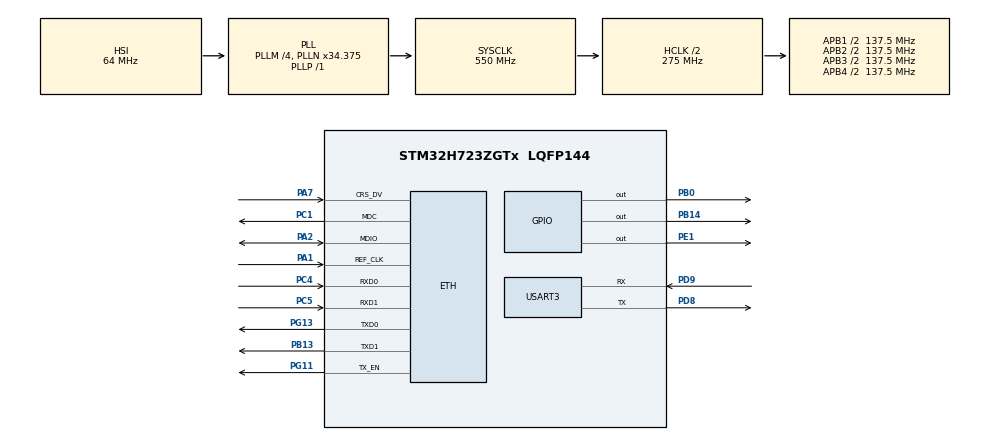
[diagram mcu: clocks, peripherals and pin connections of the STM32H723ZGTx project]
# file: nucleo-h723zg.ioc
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CORTEX_M7.default_mode_Activation=1
ETH.MediaInterface=HAL_ETH_RMII_MODE
Mcu.Family=STM32H7
Mcu.Name=STM32H723ZGTx
Mcu.Package=LQFP144
NVIC.PriorityGroup=NVIC_PRIORITYGROUP_4
PA1.Mode=RMII
PA1.Signal=ETH_REF_CLK
PA2.Mode=RMII
PA2.Signal=ETH_MDIO
PA7.Mode=RMII
PA7.Signal=ETH_CRS_DV
PB0.Signal=GPIO_Output
PB13.Mode=RMII
PB13.Signal=ETH_TXD1
PB14.Signal=GPIO_Output
PC1.Mode=RMII
PC1.Signal=ETH_MDC
PC4.Mode=RMII
PC4.Signal=ETH_RXD0
PC5.Mode=RMII
PC5.Signal=ETH_RXD1
PD8.Mode=Asynchronous
PD8.Signal=USART3_TX
PD9.Mode=Asynchronous
PD9.Signal=USART3_RX
PE1.Signal=GPIO_Output
PG11.Mode=RMII
PG11.Signal=ETH_TX_EN
PG13.Mode=RMII
PG13.Signal=ETH_TXD0
ProjectManager.HeapSize=0x10000
ProjectManager.StackSize=0x2000
ProjectManager.TargetToolchain=CMake
RCC.ADCFreq_Value=129000000
RCC.APB1Freq_Value=137500000
RCC.APB2Freq_Value=137500000
RCC.APB3Freq_Value=137500000
RCC.APB4Freq_Value=137500000
RCC.CortexFreq_Value=550000000
RCC.D1PPRE=RCC_APB3_DIV2
RCC.D2PPRE1=RCC_APB1_DIV2
RCC.D2PPRE2=RCC_APB2_DIV2
RCC.D3PPRE=RCC_APB4_DIV2
RCC.DIVM1=4
RCC.DIVN1=34
RCC.DIVP1=1
RCC.HCLKFreq_Value=275000000
RCC.HPRE=RCC_HCLK_DIV2
RCC.PLL2FRACN=0
RCC.PLL3FRACN=0
RCC.PLLFRACN=3072
RCC.SYSCLKFreq_VALUE=550000000
RCC.SYSCLKSource=RCC_SYSCLKSOURCE_PLLCLK
RCC.USBFreq_Value=275000000
USART3.VirtualMode-Asynchronous=VM_ASYNC
VP_MEMORYMAP_VS_MEMORYMAP.Mode=CurAppReg
VP_RNG_VS_RNG.Mode=RNG_Activate
board=custom

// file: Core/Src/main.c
/* USER CODE BEGIN Header */
/**
  ******************************************************************************
  * @file           : main.c
  * @brief          : Main program body
  ******************************************************************************
  * @attention
  *
  * Copyright (c) 2026 STMicroelectronics.
  * All rights reserved.
  *
  * This software is licensed under terms that can be found in the LICENSE file
  * in the root directory of this software component.
  * If no LICENSE file comes with this software, it is provided AS-IS.
  *
  ******************************************************************************
  */
/* USER CODE END Header */
#include "main.h"
#include "string.h"

/* USER CODE BEGIN Includes */
#include "mongoose.h"

/* USER CODE END Includes */

#if defined ( __ICCARM__ ) /*!< IAR Compiler */
#pragma location=0x30000000
ETH_DMADescTypeDef  DMARxDscrTab[ETH_RX_DESC_CNT]; /* Ethernet Rx DMA Descriptors */
#pragma location=0x30000080
ETH_DMADescTypeDef  DMATxDscrTab[ETH_TX_DESC_CNT]; /* Ethernet Tx DMA Descriptors */

#elif defined ( __CC_ARM )  /* MDK ARM Compiler */

__attribute__((at(0x30000000))) ETH_DMADescTypeDef  DMARxDscrTab[ETH_RX_DESC_CNT]; /* Ethernet Rx DMA Descriptors */
__attribute__((at(0x30000080))) ETH_DMADescTypeDef  DMATxDscrTab[ETH_TX_DESC_CNT]; /* Ethernet Tx DMA Descriptors */

#elif defined ( __GNUC__ ) /* GNU Compiler */

ETH_DMADescTypeDef DMARxDscrTab[ETH_RX_DESC_CNT] __attribute__((section(".RxDescripSection"))); /* Ethernet Rx DMA Descriptors */
ETH_DMADescTypeDef DMATxDscrTab[ETH_TX_DESC_CNT] __attribute__((section(".TxDescripSection")));   /* Ethernet Tx DMA Descriptors */
#endif

ETH_TxPacketConfig TxConfig;

ETH_HandleTypeDef heth;

RNG_HandleTypeDef hrng;

UART_HandleTypeDef huart3;

void SystemClock_Config(void);
static void MPU_Config(void);
static void MX_GPIO_Init(void);
static void MX_ETH_Init(void);
static void MX_RNG_Init(void);
static void MX_USART3_UART_Init(void);

/* USER CODE BEGIN 0 */
size_t mg_usage(int task, int metric) {
  extern void *_sbrk(ptrdiff_t incr);
  extern unsigned char _end, _sstack, _estack;
  extern uint32_t _Min_Stack_Size;
  switch (metric) {
    case MG_USAGE_NUM_TASKS: return 1;
    case MG_USAGE_TASK_NAME: return task == 0 ? (size_t) "main" : 0;
    case MG_USAGE_STACK_TOTAL:
      return task == 0 ? (size_t) &_Min_Stack_Size : 0;
    case MG_USAGE_STACK_USED: {
      size_t sp = (size_t) __get_MSP();
      size_t base = (size_t) &_sstack, top = (size_t) &_estack;
      if (task != 0 || sp > top) return 0;
      return top - (sp < base ? base : sp);
    }
    case MG_USAGE_HEAP_TOTAL:
      return (size_t) &_sstack - (size_t) &_end;
    case MG_USAGE_HEAP_USED: {
      size_t heap = (size_t) _sbrk(0), start = (size_t) &_end;
      return heap >= start && heap <= (size_t) &_sstack ? heap - start : 0;
    }
    default: return 0;
  }
}

static void log_fn(char ch, void *param) {
  HAL_UART_Transmit(param, (unsigned char *) &ch, 1, HAL_MAX_DELAY);
}

static void http_ev_handler(struct mg_connection *c, int ev, void *ev_data) {
  if (ev == MG_EV_HTTP_HDRS) {
    struct mg_http_message *hm = (struct mg_http_message *) ev_data;
    if (mg_match(hm->uri, mg_str("/ota"), NULL)) {
      mg_http_stream_body(c, hm, mg_http_ota_cb, NULL);
    }
  } else if (ev == MG_EV_HTTP_MSG) {
    struct mg_http_message *hm = (struct mg_http_message *) ev_data;
    if (mg_match(hm->uri, mg_str("/api/tick"), NULL)) {
      mg_http_reply(c, 200, "", "{%m:%lu}\n", MG_ESC("tick"), HAL_GetTick());
    } else if (mg_match(hm->uri, mg_str("/api/crash"), NULL)) {
      __asm volatile("udf #0");
    } else {
      mg_http_reply(c, 200, "", "Hi from Mongoose, tick %lu\n%M\n",
                    HAL_GetTick(), mg_print_mem_stats);
    }
  }
}
/* USER CODE END 0 */

int main(void)
{

  /* USER CODE BEGIN 1 */
  MG_HEALTH_INIT();
  /* USER CODE END 1 */

  /* MPU Configuration--------------------------------------------------------*/
  MPU_Config();

  /* MCU Configuration--------------------------------------------------------*/

  /* Reset of all peripherals, Initializes the Flash interface and the Systick. */
  HAL_Init();

  /* Configure the system clock */
  SystemClock_Config();

  /* Initialize all configured peripherals */
  MX_GPIO_Init();
  MX_ETH_Init();
  MX_RNG_Init();
  MX_USART3_UART_Init();

  /* Infinite loop */
  /* USER CODE BEGIN WHILE */
  struct mg_mgr mgr;
  mg_log_set_fn(log_fn, &huart3);
  mg_mgr_init(&mgr);
  mg_http_listen(&mgr, "http://0.0.0.0", http_ev_handler, NULL);

  while (1)
  {
    mg_mgr_poll(&mgr, 0);
    /* USER CODE END WHILE */

  }
}

void SystemClock_Config(void)
{
  RCC_OscInitTypeDef RCC_OscInitStruct = {0};
  RCC_ClkInitTypeDef RCC_ClkInitStruct = {0};

  /** Supply configuration update enable
  */
  HAL_PWREx_ConfigSupply(PWR_LDO_SUPPLY);

  /** Configure the main internal regulator output voltage
  */
  __HAL_PWR_VOLTAGESCALING_CONFIG(PWR_REGULATOR_VOLTAGE_SCALE0);

  while(!__HAL_PWR_GET_FLAG(PWR_FLAG_VOSRDY)) {}

  /** Initializes the RCC Oscillators according to the specified parameters
  * in the RCC_OscInitTypeDef structure.
  */
  RCC_OscInitStruct.OscillatorType = RCC_OSCILLATORTYPE_HSI48|RCC_OSCILLATORTYPE_HSI;
  RCC_OscInitStruct.HSIState = RCC_HSI_DIV1;
  RCC_OscInitStruct.HSICalibrationValue = 64;
  RCC_OscInitStruct.HSI48State = RCC_HSI48_ON;
  RCC_OscInitStruct.PLL.PLLState = RCC_PLL_ON;
  RCC_OscInitStruct.PLL.PLLSource = RCC_PLLSOURCE_HSI;
  RCC_OscInitStruct.PLL.PLLM = 4;
  RCC_OscInitStruct.PLL.PLLN = 34;
  RCC_OscInitStruct.PLL.PLLP = 1;
  RCC_OscInitStruct.PLL.PLLQ = 2;
  RCC_OscInitStruct.PLL.PLLR = 2;
  RCC_OscInitStruct.PLL.PLLRGE = RCC_PLL1VCIRANGE_3;
  RCC_OscInitStruct.PLL.PLLVCOSEL = RCC_PLL1VCOWIDE;
  RCC_OscInitStruct.PLL.PLLFRACN = 3072;
  if (HAL_RCC_OscConfig(&RCC_OscInitStruct) != HAL_OK)
  {
    Error_Handler();
  }

  /** Initializes the CPU, AHB and APB buses clocks
  */
  RCC_ClkInitStruct.ClockType = RCC_CLOCKTYPE_HCLK|RCC_CLOCKTYPE_SYSCLK
                              |RCC_CLOCKTYPE_PCLK1|RCC_CLOCKTYPE_PCLK2
                              |RCC_CLOCKTYPE_D3PCLK1|RCC_CLOCKTYPE_D1PCLK1;
  RCC_ClkInitStruct.SYSCLKSource = RCC_SYSCLKSOURCE_PLLCLK;
  RCC_ClkInitStruct.SYSCLKDivider = RCC_SYSCLK_DIV1;
  RCC_ClkInitStruct.AHBCLKDivider = RCC_HCLK_DIV2;
  RCC_ClkInitStruct.APB3CLKDivider = RCC_APB3_DIV2;
  RCC_ClkInitStruct.APB1CLKDivider = RCC_APB1_DIV2;
  RCC_ClkInitStruct.APB2CLKDivider = RCC_APB2_DIV2;
  RCC_ClkInitStruct.APB4CLKDivider = RCC_APB4_DIV2;

  if (HAL_RCC_ClockConfig(&RCC_ClkInitStruct, FLASH_LATENCY_3) != HAL_OK)
  {
    Error_Handler();
  }
}

static void MX_ETH_Init(void)
{

   static uint8_t MACAddr[6];

  heth.Instance = ETH;
  MACAddr[0] = 0x00;
  MACAddr[1] = 0x80;
  MACAddr[2] = 0xE1;
  MACAddr[3] = 0x00;
  MACAddr[4] = 0x00;
  MACAddr[5] = 0x00;
  heth.Init.MACAddr = &MACAddr[0];
  heth.Init.MediaInterface = HAL_ETH_RMII_MODE;
  heth.Init.TxDesc = DMATxDscrTab;
  heth.Init.RxDesc = DMARxDscrTab;
  heth.Init.RxBuffLen = 1536;

  if (HAL_ETH_Init(&heth) != HAL_OK)
  {
    Error_Handler();
  }

  memset(&TxConfig, 0 , sizeof(ETH_TxPacketConfig));
  TxConfig.Attributes = ETH_TX_PACKETS_FEATURES_CSUM | ETH_TX_PACKETS_FEATURES_CRCPAD;
  TxConfig.ChecksumCtrl = ETH_CHECKSUM_IPHDR_PAYLOAD_INSERT_PHDR_CALC;
  TxConfig.CRCPadCtrl = ETH_CRC_PAD_INSERT;

}

static void MX_RNG_Init(void)
{

  hrng.Instance = RNG;
  hrng.Init.ClockErrorDetection = RNG_CED_ENABLE;
  if (HAL_RNG_Init(&hrng) != HAL_OK)
  {
    Error_Handler();
  }

}

static void MX_USART3_UART_Init(void)
{

  huart3.Instance = USART3;
  huart3.Init.BaudRate = 115200;
  huart3.Init.WordLength = UART_WORDLENGTH_8B;
  huart3.Init.StopBits = UART_STOPBITS_1;
  huart3.Init.Parity = UART_PARITY_NONE;
  huart3.Init.Mode = UART_MODE_TX_RX;
  huart3.Init.HwFlowCtl = UART_HWCONTROL_NONE;
  huart3.Init.OverSampling = UART_OVERSAMPLING_16;
  huart3.Init.OneBitSampling = UART_ONE_BIT_SAMPLE_DISABLE;
  huart3.Init.ClockPrescaler = UART_PRESCALER_DIV1;
  huart3.AdvancedInit.AdvFeatureInit = UART_ADVFEATURE_NO_INIT;
  if (HAL_UART_Init(&huart3) != HAL_OK)
  {
    Error_Handler();
  }
  if (HAL_UARTEx_SetTxFifoThreshold(&huart3, UART_TXFIFO_THRESHOLD_1_8) != HAL_OK)
  {
    Error_Handler();
  }
  if (HAL_UARTEx_SetRxFifoThreshold(&huart3, UART_RXFIFO_THRESHOLD_1_8) != HAL_OK)
  {
    Error_Handler();
  }
  if (HAL_UARTEx_DisableFifoMode(&huart3) != HAL_OK)
  {
    Error_Handler();
  }

}

static void MX_GPIO_Init(void)
{
  GPIO_InitTypeDef GPIO_InitStruct = {0};

  /* GPIO Ports Clock Enable */
  __HAL_RCC_GPIOC_CLK_ENABLE();
  __HAL_RCC_GPIOA_CLK_ENABLE();
  __HAL_RCC_GPIOB_CLK_ENABLE();
  __HAL_RCC_GPIOD_CLK_ENABLE();
  __HAL_RCC_GPIOG_CLK_ENABLE();
  __HAL_RCC_GPIOE_CLK_ENABLE();

  /*Configure GPIO pin Output Level */
  HAL_GPIO_WritePin(GPIOB, GPIO_PIN_0|GPIO_PIN_14, GPIO_PIN_RESET);

  /*Configure GPIO pin Output Level */
  HAL_GPIO_WritePin(GPIOE, GPIO_PIN_1, GPIO_PIN_RESET);

  /*Configure GPIO pins : PB0 PB14 */
  GPIO_InitStruct.Pin = GPIO_PIN_0|GPIO_PIN_14;
  GPIO_InitStruct.Mode = GPIO_MODE_OUTPUT_PP;
  GPIO_InitStruct.Pull = GPIO_NOPULL;
  GPIO_InitStruct.Speed = GPIO_SPEED_FREQ_LOW;
  HAL_GPIO_Init(GPIOB, &GPIO_InitStruct);

  /*Configure GPIO pin : PE1 */
  GPIO_InitStruct.Pin = GPIO_PIN_1;
  GPIO_InitStruct.Mode = GPIO_MODE_OUTPUT_PP;
  GPIO_InitStruct.Pull = GPIO_NOPULL;
  GPIO_InitStruct.Speed = GPIO_SPEED_FREQ_LOW;
  HAL_GPIO_Init(GPIOE, &GPIO_InitStruct);

}

 /* MPU Configuration */

void MPU_Config(void)
{
  MPU_Region_InitTypeDef MPU_InitStruct = {0};

  /* Disables the MPU */
  HAL_MPU_Disable();

  /** Initializes and configures the Region and the memory to be protected
  */
  MPU_InitStruct.Enable = MPU_REGION_ENABLE;
  MPU_InitStruct.Number = MPU_REGION_NUMBER0;
  MPU_InitStruct.BaseAddress = 0x0;
  MPU_InitStruct.Size = MPU_REGION_SIZE_4GB;
  MPU_InitStruct.SubRegionDisable = 0x87;
  MPU_InitStruct.TypeExtField = MPU_TEX_LEVEL0;
  MPU_InitStruct.AccessPermission = MPU_REGION_NO_ACCESS;
  MPU_InitStruct.DisableExec = MPU_INSTRUCTION_ACCESS_DISABLE;
  MPU_InitStruct.IsShareable = MPU_ACCESS_SHAREABLE;
  MPU_InitStruct.IsCacheable = MPU_ACCESS_NOT_CACHEABLE;
  MPU_InitStruct.IsBufferable = MPU_ACCESS_NOT_BUFFERABLE;

  HAL_MPU_ConfigRegion(&MPU_InitStruct);
  /* Enables the MPU */
  HAL_MPU_Enable(MPU_PRIVILEGED_DEFAULT);

}

void Error_Handler(void)
{
  __disable_irq();
  while (1)
  {
  }
}
